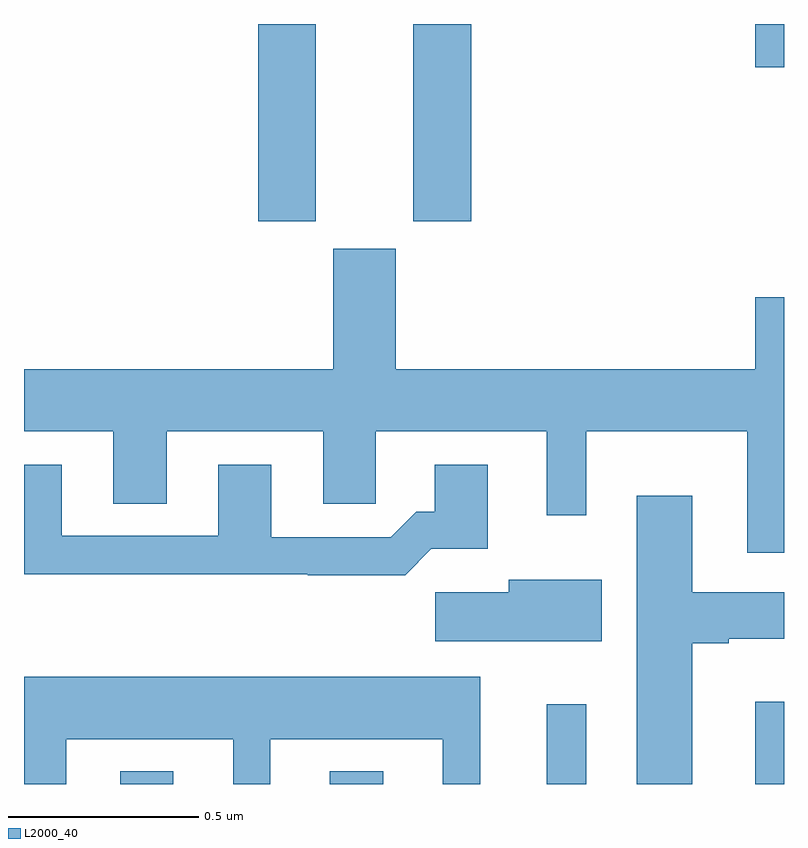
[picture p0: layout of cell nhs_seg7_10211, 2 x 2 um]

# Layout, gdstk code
import gdstk
lib = gdstk.Library(unit=1e-6, precision=1e-09)
def R(c, l, rs):  # rectangles x0, y0, x1, y1
    for r in rs: c.add(gdstk.rectangle(r[:2], r[2:], *l))
def P(c, l, *ps):  # polygons
    for p in ps: c.add(gdstk.Polygon(p, *l))
L2000_40 = (2000, 40)

nhs_seg7_10211 = lib.new_cell('nhs_seg7_10211')
R(nhs_seg7_10211, L2000_40, [(247.253,1021,247.393,1021.033), (247.805,1021,247.945,1021.033), (248.375,1021,248.479,1021.21), (248.924,1021,249,1021.216), (247.616,1022.481,247.768,1023), (248.024,1022.481,248.177,1023), (248.924,1022.886,249,1023)])
P(nhs_seg7_10211, L2000_40, [(249,1022.281),(248.924,1022.281),(248.924,1022.092),(247.978,1022.092),(247.978,1022.409),(247.814,1022.409),(247.814,1022.092),(247,1022.092),(247,1021.928),(247.235,1021.928),(247.235,1021.738),(247.375,1021.738),(247.375,1021.928),(247.787,1021.928),(247.787,1021.738),(247.926,1021.738),(247.926,1021.928),(248.375,1021.928),(248.375,1021.707),(248.479,1021.707),(248.479,1021.928),(248.903,1021.928),(248.903,1021.608),(249,1021.608)],
  [(248.072,1021.619),(248.221,1021.619),(248.221,1021.84),(248.081,1021.84),(248.081,1021.717),(248.032,1021.717),(247.965,1021.65),(247.651,1021.65),(247.651,1021.84),(247.511,1021.84),(247.511,1021.653),(247.099,1021.653),(247.099,1021.84),(247,1021.84),(247,1021.552),(247.747,1021.552),(247.747,1021.55),(248.003,1021.55)],
  [(248.758,1021.37),(248.854,1021.37),(248.854,1021.382),(249,1021.382),(249,1021.504),(248.758,1021.504),(248.758,1021.759),(248.612,1021.759),(248.612,1021),(248.758,1021)],
  [(248.521,1021.537),(248.276,1021.537),(248.276,1021.505),(248.082,1021.505),(248.082,1021.376),(248.521,1021.376)],
  [(247.111,1021.118),(247.55,1021.118),(247.55,1021),(247.648,1021),(247.648,1021.118),(248.102,1021.118),(248.102,1021),(248.2,1021),(248.2,1021.282),(247,1021.282),(247,1021),(247.111,1021)])

lib.write_gds('nhs_seg7_10211.gds')
